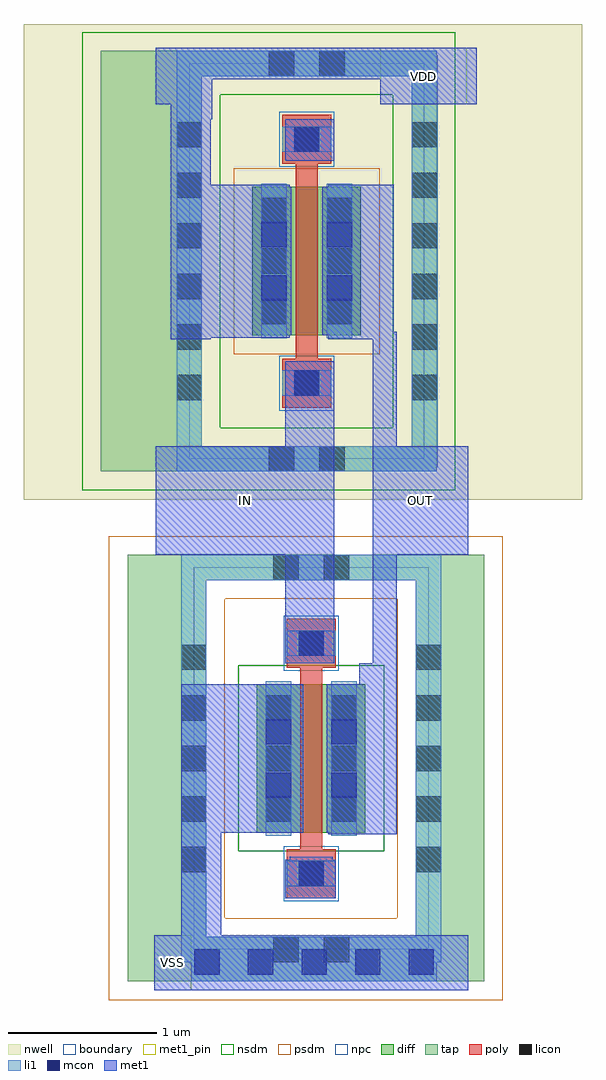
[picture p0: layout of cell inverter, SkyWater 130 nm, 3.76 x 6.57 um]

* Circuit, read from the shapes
.subckt inverter IN OUT VDD VSS
XM1 OUT IN VSS VSS sky130_fd_pr__nfet_01v8 w=1 l=0.15
XM2 OUT IN VDD n1 sky130_fd_pr__pfet_01v8 w=1 l=0.15
.ends

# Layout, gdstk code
import gdstk
lib = gdstk.Library(unit=1e-6, precision=1e-09)
def R(c, l, rs):  # rectangles x0, y0, x1, y1
    for r in rs: c.add(gdstk.rectangle(r[:2], r[2:], *l))
def A(c, l, x, y, w, h, nx, ny, dx, dy):  # array of equal rectangles
    R(c, l, [(x+i*dx, y+j*dy, x+i*dx+w, y+j*dy+h) for i in range(nx) for j in range(ny)])
nwell = (64, 20)
diff = (65, 20)
tap = (65, 44)
poly = (66, 20)
licon = (66, 44)
li1 = (67, 20)
mcon = (67, 44)
met1_pin = (68, 16)
met1 = (68, 20)
nsdm = (93, 44)
psdm = (94, 20)
npc = (95, 20)
boundary = (235, 4)

sky130_fd_pr__nfet_01v8_ = lib.new_cell('sky130_fd_pr__nfet_01v8_648S5X')
R(sky130_fd_pr__nfet_01v8_, diff, [(-0.365,-0.5,0.365,0.5)])
R(sky130_fd_pr__nfet_01v8_, tap, [(-0.975,-1.37,0.965,-1.2), (-0.975,-1.2,-0.705,1.2), (0.705,-1.2,0.965,1.2), (-0.975,1.2,0.965,1.37)])
R(sky130_fd_pr__nfet_01v8_, poly, [(-0.165,-0.94,0.165,-0.61), (-0.075,-0.61,0.075,0.61), (-0.165,0.61,0.165,0.94)])
A(sky130_fd_pr__nfet_01v8_, licon, -0.875, -0.765, 0.17, 0.17, 1, 5, 0, 0.34)
A(sky130_fd_pr__nfet_01v8_, licon, 0.705, -0.765, 0.17, 0.17, 1, 5, 0, 0.34)
A(sky130_fd_pr__nfet_01v8_, licon, -0.305, -0.425, 0.17, 0.17, 1, 3, 0, 0.34)
A(sky130_fd_pr__nfet_01v8_, licon, 0.135, -0.425, 0.17, 0.17, 1, 3, 0, 0.34)
R(sky130_fd_pr__nfet_01v8_, licon, [(-0.255,-1.37,-0.085,-1.2), (0.085,-1.37,0.255,-1.2), (-0.085,-0.86,0.085,-0.69), (-0.085,0.69,0.085,0.86), (-0.255,1.2,-0.085,1.37), (0.085,1.2,0.255,1.37)])
R(sky130_fd_pr__nfet_01v8_, li1, [(-0.875,-1.37,0.875,-1.2), (-0.875,-1.2,-0.705,1.2), (0.705,-1.2,0.875,1.2), (-0.165,-0.86,0.165,-0.69), (-0.305,-0.52,-0.135,0.52), (0.135,-0.52,0.305,0.52), (-0.165,0.69,0.165,0.86), (-0.875,1.2,0.875,1.37)])
R(sky130_fd_pr__nfet_01v8_, mcon, [(-0.085,-0.86,0.085,-0.69), (-0.305,-0.265,-0.135,-0.095), (0.135,-0.265,0.305,-0.095), (-0.305,0.095,-0.135,0.265), (0.135,0.095,0.305,0.265), (-0.085,0.69,0.085,0.86)])
R(sky130_fd_pr__nfet_01v8_, met1, [(-0.145,-0.89,0.145,-0.66), (-0.335,-0.5,-0.105,0.5), (0.105,-0.5,0.335,0.5), (-0.145,0.66,0.145,0.89)])
R(sky130_fd_pr__nfet_01v8_, nsdm, [(-0.49,-0.625,0.49,0.625)])
R(sky130_fd_pr__nfet_01v8_, psdm, [(-1.1,-1.495,1.09,-1.075), (-1.1,-1.075,-0.58,1.075), (0.58,-1.075,1.09,1.075), (-1.1,1.075,1.09,1.495)])
R(sky130_fd_pr__nfet_01v8_, npc, [(-0.185,-0.96,0.185,-0.59), (-0.185,0.59,0.185,0.96)])
R(sky130_fd_pr__nfet_01v8_, boundary, [(-0.79,-1.285,0.79,1.285)])

sky130_fd_pr__pfet_01v8_ = lib.new_cell('sky130_fd_pr__pfet_01v8_XGS3BL')
R(sky130_fd_pr__pfet_01v8_, nwell, [(-1.055,-1.595,1.055,1.595)])
R(sky130_fd_pr__pfet_01v8_, diff, [(-0.365,-0.5,0.365,0.5)])
R(sky130_fd_pr__pfet_01v8_, tap, [(-0.875,-1.415,0.875,-1.245), (-0.875,-1.245,-0.705,1.245), (0.705,-1.245,0.875,1.245), (-0.875,1.245,0.875,1.415)])
R(sky130_fd_pr__pfet_01v8_, poly, [(-0.165,-0.985,0.165,-0.655), (-0.075,-0.655,0.075,0.655), (-0.165,0.655,0.165,0.985)])
A(sky130_fd_pr__pfet_01v8_, licon, -0.875, -0.935, 0.17, 0.17, 1, 6, 0, 0.34)
A(sky130_fd_pr__pfet_01v8_, licon, 0.705, -0.935, 0.17, 0.17, 1, 6, 0, 0.34)
A(sky130_fd_pr__pfet_01v8_, licon, -0.305, -0.425, 0.17, 0.17, 1, 3, 0, 0.34)
A(sky130_fd_pr__pfet_01v8_, licon, 0.135, -0.425, 0.17, 0.17, 1, 3, 0, 0.34)
R(sky130_fd_pr__pfet_01v8_, licon, [(-0.255,-1.415,-0.085,-1.245), (0.085,-1.415,0.255,-1.245), (-0.085,-0.905,0.085,-0.735), (-0.085,0.735,0.085,0.905), (-0.255,1.245,-0.085,1.415), (0.085,1.245,0.255,1.415)])
R(sky130_fd_pr__pfet_01v8_, li1, [(-0.875,-1.415,0.875,-1.385), (-0.875,-1.385,0.88,-1.245), (-0.875,-1.245,-0.705,1.245), (0.705,-1.245,0.88,1.245), (-0.165,-0.905,0.165,-0.735), (-0.305,-0.52,-0.135,0.52), (0.135,-0.52,0.305,0.52), (-0.165,0.735,0.165,0.905), (-0.875,1.245,0.88,1.385), (-0.875,1.385,0.875,1.415)])
R(sky130_fd_pr__pfet_01v8_, mcon, [(-0.085,-0.905,0.085,-0.735), (-0.305,-0.265,-0.135,-0.095), (0.135,-0.265,0.305,-0.095), (-0.305,0.095,-0.135,0.265), (0.135,0.095,0.305,0.265), (-0.085,0.735,0.085,0.905)])
R(sky130_fd_pr__pfet_01v8_, met1, [(-0.145,-0.935,0.145,-0.705), (-0.335,-0.5,-0.105,0.5), (0.105,-0.5,0.335,0.5), (-0.145,0.705,0.145,0.935)])
R(sky130_fd_pr__pfet_01v8_, nsdm, [(-1,-1.54,1,-1.12), (-1,-1.12,-0.58,1.12), (0.58,-1.12,1,1.12), (-1,1.12,1,1.54)])
R(sky130_fd_pr__pfet_01v8_, psdm, [(-0.49,-0.625,0.49,0.625)])
R(sky130_fd_pr__pfet_01v8_, npc, [(-0.185,-1.005,0.185,-0.635), (-0.185,0.635,0.185,1.005)])
R(sky130_fd_pr__pfet_01v8_, boundary, [(-0.79,-1.33,0.79,1.33)])

inverter = lib.new_cell('inverter')
R(inverter, nwell, [(1.59,2.26,5.35,4.82), (1.59,4.82,2.75,5.09), (3.99,4.82,5.35,5.09), (1.59,5.09,5.35,5.46)])
R(inverter, tap, [(2.29,-0.98,4.69,-0.85), (2.29,-0.85,2.6,1.89), (4.38,-0.85,4.69,1.89), (2.11,2.45,2.72,5.28)])
R(inverter, li1, [(2.72,-0.98,4.37,-0.72)])
A(inverter, mcon, 2.74, -0.935, 0.17, 0.17, 5, 1, 0.36, 0)
R(inverter, met1_pin, [(2.47,-1.04,2.72,-0.67), (2.48,1.89,3.68,2.62), (3.94,1.89,4.58,2.62), (3.99,4.92,4.57,5.3)])
R(inverter, met1, [(2.47,-1.04,4.58,-0.67), (2.65,-0.67,2.92,0.02), (3.35,-0.42,3.69,-0.16), (3.64,0.01,4.1,1.01), (2.65,0.02,3.47,1.02), (3.85,1.01,4.1,1.16), (3.35,1.16,3.68,1.89), (3.94,1.16,4.1,1.89), (2.48,1.89,3.68,2.62), (3.94,1.89,4.58,2.62), (3.35,2.62,3.68,3.19), (3.94,2.62,4.1,3.34), (2.58,3.34,2.85,3.35), (3.64,3.34,4.1,3.39), (2.58,3.35,3.38,4.38), (3.64,3.39,4.08,4.38), (2.58,4.38,2.85,4.82), (3.35,4.54,3.68,4.82), (2.58,4.82,2.86,4.92), (2.48,4.92,2.86,5.09), (3.99,4.92,4.64,5.09), (2.48,5.09,4.64,5.3)])
R(inverter, nsdm, [(1.985,2.325,2.845,5.405)])
R(inverter, psdm, [(2.165,-1.105,4.815,-0.725), (2.165,-0.725,2.725,2.015), (4.255,-0.725,4.815,2.015)])
inverter.add(gdstk.Reference(sky130_fd_pr__nfet_01v8_, (3.525,0.52)))
inverter.add(gdstk.Reference(sky130_fd_pr__pfet_01v8_, (3.495,3.865)))
inverter.add(gdstk.Label('VSS', (2.595,-0.855), layer=68, texttype=5))
inverter.add(gdstk.Label('IN', (3.08,2.255), layer=68, texttype=5))
inverter.add(gdstk.Label('OUT', (4.26,2.255), layer=68, texttype=5))
inverter.add(gdstk.Label('VDD', (4.28,5.11), layer=68, texttype=5))

lib.write_gds('inverter.gds')
